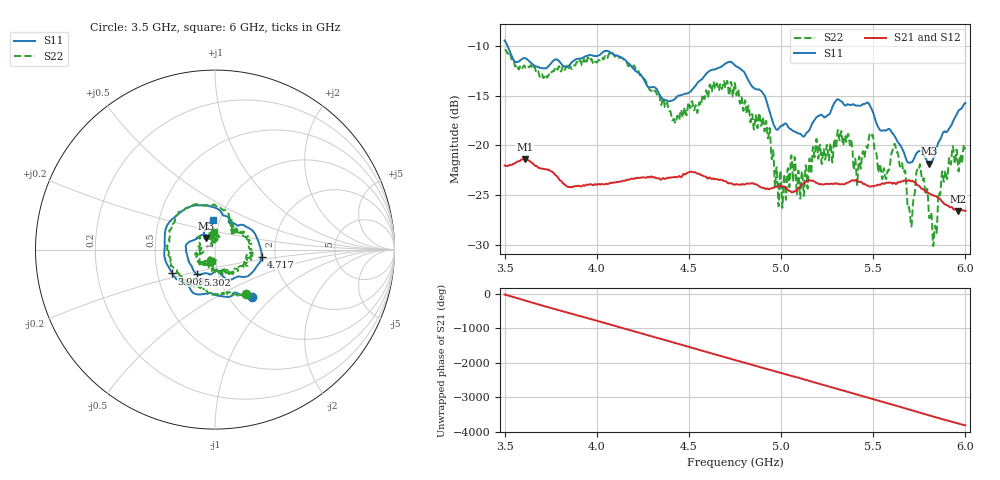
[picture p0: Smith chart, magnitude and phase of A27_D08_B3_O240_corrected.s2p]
! Created with skrf 1.9.0 (http://scikit-rf.org).
# Hz S RI R 50.0
!freq ReS11 ImS11 ReS21 ImS21 ReS12 ImS12 ReS22 ImS22
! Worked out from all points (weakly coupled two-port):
!   1601 points, 3.5 GHz to 6 GHz, reference 50 ohm
!   highest |S21| = -21.34 dB at 3.609 GHz (marker M1); lowest = -26.6 dB at 5.959 GHz (marker M2)
!   lowest |S11| = -21.8 dB at 5.805 GHz (marker M3), VSWR 1.18, Z = 45.1 + j5.93 ohm
!   |S11| at or under -10 dB: 3.516 GHz to end of sweep
!   |S22| runs from -30.1 to -10.4 dB; largest |S21 - S12| = 0.001
!   S11 on the Smith chart (normalised r, x): 3.5 GHz: 1.27, -0.76; 3.908 GHz: 0.60, -0.17; 4.717 GHz: 1.70, -0.14; 5.302 GHz: 0.79, -0.23; 6 GHz: 0.93, +0.31
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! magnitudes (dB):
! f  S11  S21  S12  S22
! 3.5 GHz  -9.4  -22.0  -22.0  -10.4
! 3.609 GHz  -11.2  -21.3  -21.3  -12.0
! 3.908 GHz  -11.3  -24.1  -24.0  -11.5
! 3.917 GHz  -11.2  -24.1  -24.1  -11.8
! 4.334 GHz  -14.7  -23.3  -23.2  -14.8
! 4.42 GHz  -15.4  -23.2  -23.2  -17.4
! 4.717 GHz  -11.6  -23.8  -23.9  -15.0
! 4.75 GHz  -12.0  -23.9  -23.9  -13.8
! 4.928 GHz  -16.0  -24.3  -24.3  -19.3
! 4.997 GHz  -18.1  -24.1  -24.1  -22.5
! 5.167 GHz  -17.8  -23.5  -23.5  -21.8
! 5.302 GHz  -15.4  -23.8  -23.8  -19.6
! 5.489 GHz  -16.3  -24.1  -24.1  -19.2
! 5.584 GHz  -18.3  -23.7  -23.7  -22.5
! 5.623 GHz  -19.3  -23.9  -23.8  -20.3
! 5.7 GHz  -21.7  -23.6  -23.5  -27.0
! 5.748 GHz  -20.6  -24.1  -24.0  -22.3
! 5.805 GHz  -21.8  -24.8  -24.8  -27.3
! 5.834 GHz  -20.9  -25.1  -25.0  -28.2
! 5.88 GHz  -18.7  -25.7  -25.7  -23.2
! 5.959 GHz  -16.6  -26.6  -26.5  -22.0
! 6 GHz  -15.7  -26.6  -26.5  -20.4
